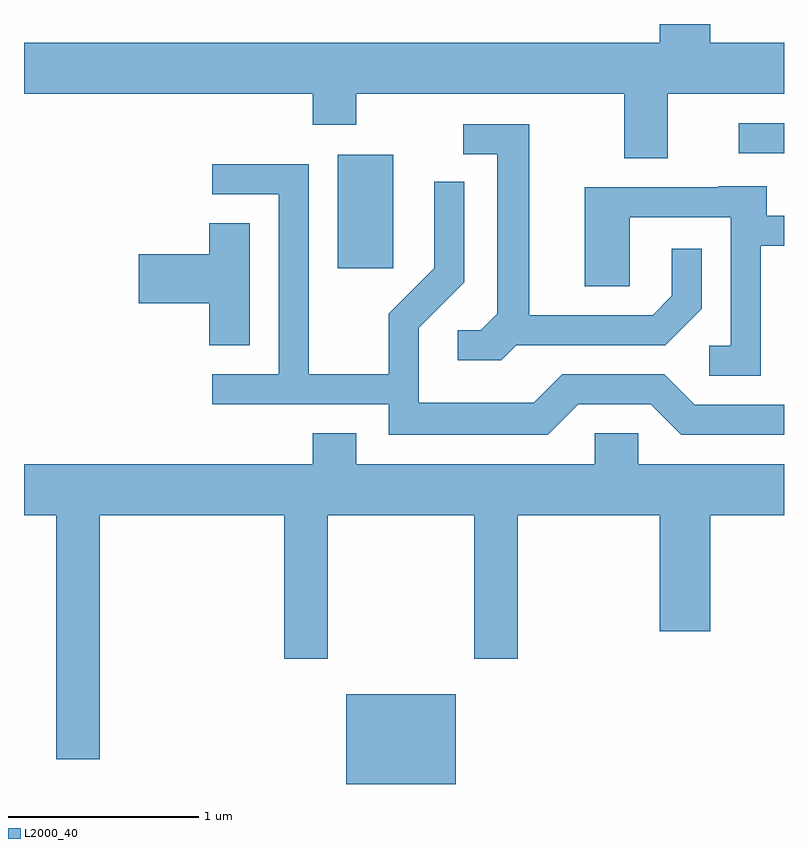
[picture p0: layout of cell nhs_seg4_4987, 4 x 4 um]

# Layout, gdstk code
import gdstk
lib = gdstk.Library(unit=1e-6, precision=1e-09)
def R(c, l, rs):  # rectangles x0, y0, x1, y1
    for r in rs: c.add(gdstk.rectangle(r[:2], r[2:], *l))
def P(c, l, *ps):  # polygons
    for p in ps: c.add(gdstk.Polygon(p, *l))
L2000_40 = (2000, 40)

nhs_seg4_4987 = lib.new_cell('nhs_seg4_4987')
R(nhs_seg4_4987, L2000_40, [(333.306,1299.982,333.884,1300.454), (333.261,1302.696,333.554,1303.294), (335.373,1303.301,335.611,1303.459)])
P(nhs_seg4_4987, L2000_40, [(334.999,1303.616),(335.611,1303.616),(335.611,1303.884),(335.224,1303.884),(335.224,1303.982),(334.956,1303.982),(334.956,1303.884),(331.611,1303.884),(331.611,1303.616),(333.131,1303.616),(333.131,1303.451),(333.359,1303.451),(333.359,1303.616),(334.771,1303.616),(334.771,1303.276),(334.999,1303.276)],
  [(334.202,1302.291),(334.987,1302.291),(335.179,1302.484),(335.179,1302.798),(335.021,1302.798),(335.021,1302.552),(334.919,1302.449),(334.269,1302.449),(334.269,1303.454),(333.923,1303.454),(333.923,1303.296),(334.101,1303.296),(334.101,1302.457),(334.014,1302.369),(333.893,1302.369),(333.893,1302.211),(334.122,1302.211)],
  [(334.527,1301.981),(334.909,1301.981),(335.069,1301.821),(335.611,1301.821),(335.611,1301.979),(335.142,1301.979),(334.982,1302.139),(334.444,1302.139),(334.294,1301.989),(333.689,1301.989),(333.689,1302.384),(333.929,1302.624),(333.929,1303.153),(333.771,1303.153),(333.771,1302.697),(333.531,1302.457),(333.531,1302.139),(333.109,1302.139),(333.109,1303.244),(332.603,1303.244),(332.603,1303.086),(332.951,1303.086),(332.951,1302.139),(332.603,1302.139),(332.603,1301.981),(333.531,1301.981),(333.531,1301.821),(334.367,1301.821)],
  [(335.489,1302.816),(335.611,1302.816),(335.611,1302.974),(335.519,1302.974),(335.519,1303.129),(335.265,1303.129),(335.265,1303.124),(334.561,1303.124),(334.561,1302.601),(334.799,1302.601),(334.799,1302.966),(335.331,1302.966),(335.331,1302.289),(335.218,1302.289),(335.218,1302.131),(335.489,1302.131)],
  [(332.799,1302.934),(332.586,1302.934),(332.586,1302.769),(332.216,1302.769),(332.216,1302.511),(332.586,1302.511),(332.586,1302.291),(332.799,1302.291)],
  [(332.009,1301.396),(332.981,1301.396),(332.981,1300.641),(333.209,1300.641),(333.209,1301.396),(333.981,1301.396),(333.981,1300.641),(334.209,1300.641),(334.209,1301.396),(334.956,1301.396),(334.956,1300.786),(335.224,1300.786),(335.224,1301.396),(335.611,1301.396),(335.611,1301.664),(334.844,1301.664),(334.844,1301.829),(334.616,1301.829),(334.616,1301.664),(333.359,1301.664),(333.359,1301.829),(333.131,1301.829),(333.131,1301.664),(331.611,1301.664),(331.611,1301.396),(331.781,1301.396),(331.781,1300.111),(332.009,1300.111)])

lib.write_gds('nhs_seg4_4987.gds')
